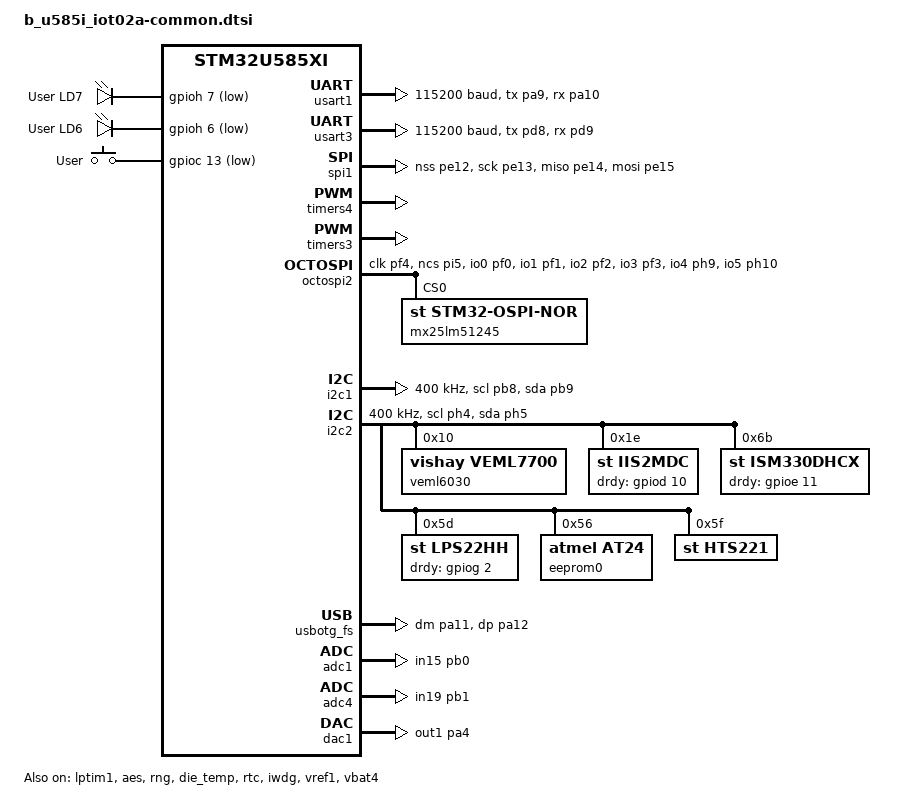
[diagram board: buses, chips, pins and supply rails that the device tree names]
/*
 * Copyright (c) 2021 Linaro Limited
 * Copyright (c) 2024 STMicroelectronics
 *
 * SPDX-License-Identifier: Apache-2.0
 */

#include <st/u5/stm32u585Xi.dtsi>
#include <st/u5/stm32u585aiixq-pinctrl.dtsi>
#include "arduino_r3_connector.dtsi"
#include <zephyr/dt-bindings/input/input-event-codes.h>

/ {
	leds {
		compatible = "gpio-leds";

		green_led_1: led_1 {
			gpios = <&gpioh 7 GPIO_ACTIVE_LOW>;
			label = "User LD7";
		};

		red_led_1: led_3 {
			gpios = <&gpioh 6 GPIO_ACTIVE_LOW>;
			label = "User LD6";
		};
	};

	gpio_keys {
		compatible = "gpio-keys";

		user_button: button {
			label = "User";
			gpios = <&gpioc 13 (GPIO_ACTIVE_LOW | GPIO_PULL_UP)>;
			zephyr,code = <INPUT_KEY_0>;
		};
	};

	aliases {
		watchdog0 = &iwdg;
		die-temp0 = &die_temp;
		volt-sensor0 = &vref1;
		volt-sensor1 = &vbat4;
		eeprom-0 = &eeprom0;
	};
};

&clk_hsi48 {
	status = "okay";
};

&clk_lse {
	status = "okay";
};

&clk_msis {
	status = "okay";
	msi-range = <4>;
	msi-pll-mode;
};

&pll1 {
	div-m = <1>;
	mul-n = <80>;
	div-q = <2>;
	div-r = <2>;
	clocks = <&clk_msis>;
	status = "okay";
};

&rcc {
	clocks = <&pll1>;
	clock-frequency = <DT_FREQ_M(160)>;
	ahb-prescaler = <1>;
	apb1-prescaler = <1>;
	apb2-prescaler = <1>;
	apb3-prescaler = <1>;
};

stm32_lp_tick_source: &lptim1 {
	clocks = <&rcc STM32_CLOCK(APB3, 11)>,
		 <&rcc STM32_SRC_LSE LPTIM1_SEL(3)>;
	status = "okay";
};

&usart1 {
	pinctrl-0 = <&usart1_tx_pa9 &usart1_rx_pa10>;
	pinctrl-names = "default";
	current-speed = <115200>;
	status = "okay";
};

&usart3 {
	pinctrl-0 = <&usart3_tx_pd8 &usart3_rx_pd9>;
	pinctrl-names = "default";
	current-speed = <115200>;
	status = "okay";
};

&spi1 {
	pinctrl-0 = <&spi1_nss_pe12 &spi1_sck_pe13
		     &spi1_miso_pe14 &spi1_mosi_pe15>;
	pinctrl-names = "default";
	status = "okay";
};

&timers4 {
	status = "okay";
	st,prescaler = <1>;

	pwm4: pwm {
		status = "okay";
		pinctrl-0 = <&tim4_ch1_pb6>;
		pinctrl-names = "default";
	};
};

&timers3 {
	status = "okay";
	st,prescaler = <255>;

	pwm3: pwm {
		status = "okay";
		pinctrl-0 = <&tim3_ch2_pe4>;
		pinctrl-names = "default";
	};
};

&octospi2 {
	pinctrl-0 = <&octospim_p2_clk_pf4 &octospim_p2_ncs_pi5
		     &octospim_p2_io0_pf0 &octospim_p2_io1_pf1
		     &octospim_p2_io2_pf2 &octospim_p2_io3_pf3
		     &octospim_p2_io4_ph9 &octospim_p2_io5_ph10
		     &octospim_p2_io6_ph11 &octospim_p2_io7_ph12
		     &octospim_p2_dqs_pf12>;
	pinctrl-names = "default";

	status = "okay";

	mx25lm51245: ospi-nor-flash@0 {
		compatible = "st,stm32-ospi-nor";
		reg = <0>;
		size = <DT_SIZE_M(512)>; /* 512 Megabits */
		ospi-max-frequency = <DT_FREQ_M(50)>;
		spi-bus-width = <OSPI_OPI_MODE>;
		data-rate = <OSPI_DTR_TRANSFER>;
		four-byte-opcodes;
		status = "okay";
	};
};

&i2c1 {
	pinctrl-0 = <&i2c1_scl_pb8 &i2c1_sda_pb9>;
	pinctrl-names = "default";
	status = "okay";
	clock-frequency = <I2C_BITRATE_FAST>;
};

&i2c2 {
	pinctrl-0 = <&i2c2_scl_ph4 &i2c2_sda_ph5>;
	pinctrl-names = "default";
	status = "okay";
	clock-frequency = <I2C_BITRATE_FAST>;

	veml6030@10 {
		compatible = "vishay,veml7700";
		reg = <0x10>;
		status = "okay";
	};

	iis2mdc@1e {
		compatible = "st,iis2mdc";
		reg = <0x1e>;
		drdy-gpios = <&gpiod 10 GPIO_ACTIVE_HIGH>;
	};

	ism330dhcx@6b {
		compatible = "st,ism330dhcx";
		reg = <0x6b>;
		drdy-gpios = <&gpioe 11 GPIO_ACTIVE_HIGH>;
	};

	lps22hh@5d {
		compatible = "st,lps22hh";
		reg = <0x5d>;
		drdy-gpios = <&gpiog 2 GPIO_ACTIVE_HIGH>;
	};

	eeprom0: eeprom@56 {
		compatible = "atmel,at24";
		reg = <0x56>;
		status = "okay";
		size = <DT_SIZE_K(32)>;
		pagesize = <64>;
		address-width = <16>;
		timeout = <5>;
	};

	hts221@5f {
		compatible = "st,hts221";
		reg = <0x5f>;
	};
};

&aes {
	status = "okay";
};

&rng {
	status = "okay";
};

zephyr_udc0: &usbotg_fs {
	pinctrl-0 = <&usb_otg_fs_dm_pa11 &usb_otg_fs_dp_pa12>;
	pinctrl-names = "default";
	status = "okay";
};

&adc1 {
	pinctrl-0 = <&adc1_in15_pb0>;
	pinctrl-names = "default";
	st,adc-clock-source = "ASYNC";
	st,adc-prescaler = <4>;
	status = "okay";
};

&adc4 {
	pinctrl-0 = <&adc4_in19_pb1>;
	pinctrl-names = "default";
	st,adc-clock-source = "ASYNC";
	st,adc-prescaler = <4>;
	status = "okay";
};

&die_temp {
	status = "okay";
};

&dac1 {
	pinctrl-0 = <&dac1_out1_pa4>;
	pinctrl-names = "default";
	status = "okay";
};

&rtc {
	clocks = <&rcc STM32_CLOCK(APB3, 21)>,
		 <&rcc STM32_SRC_LSE RTC_SEL(1)>;
	status = "okay";
};

&iwdg {
	status = "okay";
};

&vref1 {
	status = "okay";
};

&vbat4 {
	status = "okay";
};
